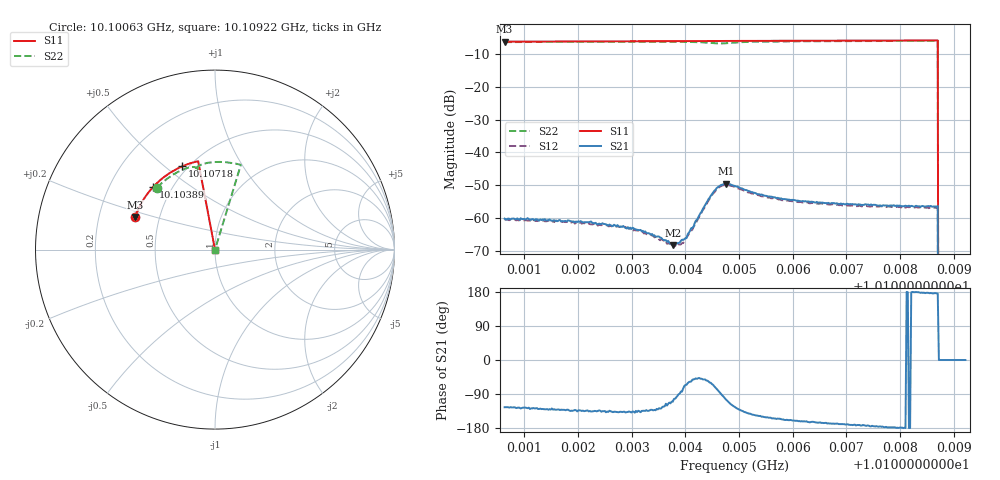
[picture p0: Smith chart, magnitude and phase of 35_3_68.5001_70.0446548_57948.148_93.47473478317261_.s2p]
#  HZ  S  RI  R  50.00
! Rohde & Schwarz Vector Network Analyzer
! Rohde-Schwarz,ZNB20-2Port,1311601062101988,3.16
! Created: UTC 3/20/2024, 5:05:15 PM
! freq[Hz]  re:S11  im:S11  re:S21  im:S21  re:S12  im:S12  re:S22  im:S22
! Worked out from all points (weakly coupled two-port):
!   401 points, 10.10063 GHz to 10.10922 GHz, reference 50 ohm
!   highest |S21| = -49.51 dB at 10.10475 GHz (marker M1); lowest = -68.1 dB at 10.10377 GHz (marker M2)
!   lowest |S11| = -6.4 dB at 10.10063 GHz (marker M3), VSWR 2.85, Z = 18.1 + j8.59 ohm
!   |S11| at or under -10 dB: 10.1087 GHz to end of sweep
!   |S22| runs from - to -6.1 dB; largest |S21 - S12| = 0.00035
!   S11 on the Smith chart (normalised r, x): 10.10063 GHz: 0.36, +0.17; 10.10389 GHz: 0.39, +0.36; 10.10718 GHz: 0.47, +0.58; 10.10922 GHz: 1.00, +0.00
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1.0100631e10  -0.4445 0.1822  -0.000563 -0.000814  -0.000475 -0.000802  -0.323 0.3456
1.0101318e10  -0.4291 0.2212  -0.000598 -0.000724  -0.000543 -0.00077  -0.2908 0.3758
1.0102069e10  -0.4085 0.262  -0.000625 -0.00063  -0.00051 -0.000652  -0.2519 0.4055
1.0102928e10  -0.38 0.3057  -0.000538 -0.000499  -0.00048 -0.00052  -0.2032 0.4344
1.0103164e10  -0.3715 0.3171  -0.000493 -0.000447  -0.000417 -0.000467  -0.1889 0.4412
1.0103507e10  -0.3584 0.3333  -0.00032 -0.00042  -0.000269 -0.000396  -0.1671 0.4502
1.0103765e10  -0.3481 0.345  -0.000135 -0.00037  -0.000109 -0.000372  -0.1495 0.4559
1.0103894e10  -0.3428 0.3509  7.79e-06 -0.000429  6.87e-05 -0.000394  -0.1402 0.4581
1.0103937e10  -0.3411 0.3529  5.54e-05 -0.000471  0.000105 -0.000408  -0.1369 0.4589
1.0104044e10  -0.3366 0.3574  0.000281 -0.000504  0.00029 -0.00046  -0.1287 0.4601
1.0104516e10  -0.3159 0.3772  0.00102 -0.00224  0.00115 -0.00208  -0.0953 0.4469
1.0104624e10  -0.3112 0.3815  0.000382 -0.00301  0.000632 -0.00288  -0.097 0.4411
1.0104752e10  -0.3054 0.3867  -0.0008 -0.00325  -0.000494 -0.00318  -0.1029 0.4433
1.0104924e10  -0.2975 0.3934  -0.00175 -0.00255  -0.00146 -0.00258  -0.1015 0.4553
1.0105203e10  -0.2842 0.404  -0.002 -0.00159  -0.00178 -0.00167  -0.0851 0.4702
1.0105568e10  -0.2664 0.4171  -0.0019 -0.000994  -0.00175 -0.00111  -0.0594 0.4796
1.0106362e10  -0.2259 0.4427  -0.0017 -0.000518  -0.0016 -0.000619  -0.00582 0.4877
1.0107178e10  -0.1814 0.4644  -0.00161 -0.000204  -0.00149 -0.000361  0.0477 0.4878
1.0107801e10  -0.1464 0.4781  -0.00156 -6.96e-05  -0.00149 -0.000208  0.0876 0.4839
1.0108659e10  -0.0964 0.4921  -0.00151 9.18e-05  -0.00144 -4.46e-05  0.1414 0.4729
1.0108766e10  0 0  0 0  0 0  0 0
1.0109217e10  0 0  0 0  0 0  0 0
